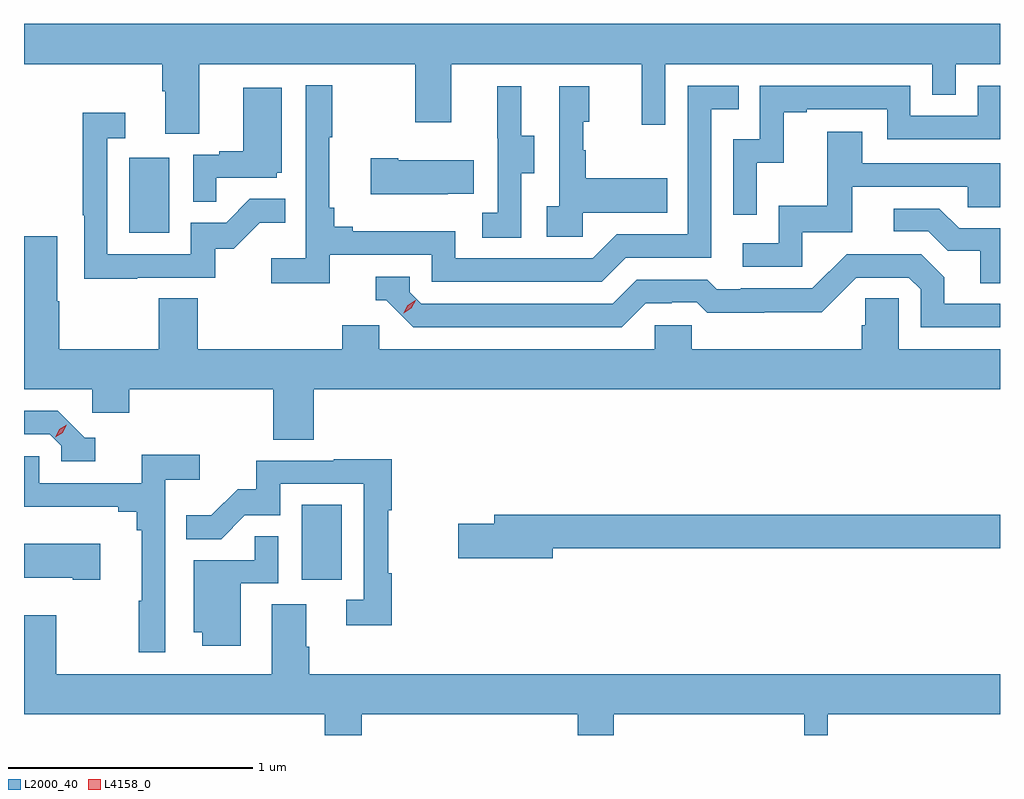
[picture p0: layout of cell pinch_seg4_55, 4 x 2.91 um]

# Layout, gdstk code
import gdstk
lib = gdstk.Library(unit=1e-6, precision=1e-09)
def R(c, l, rs):  # rectangles x0, y0, x1, y1
    for r in rs: c.add(gdstk.rectangle(r[:2], r[2:], *l))
def P(c, l, *ps):  # polygons
    for p in ps: c.add(gdstk.Polygon(p, *l))
L2000_40 = (2000, 40)
L4158_0 = (4158, 0)

pinch_seg4_55 = lib.new_cell('pinch_seg4_55')
R(pinch_seg4_55, L2000_40, [(1046.036,812.022,1046.2,812.329), (1045.328,813.444,1045.492,813.751)])
P(pinch_seg4_55, L2000_40, [(1044.897,814.136),(1045.463,814.136),(1045.463,814.024),(1045.475,814.024),(1045.475,813.85),(1045.615,813.85),(1045.615,814.136),(1046.5,814.136),(1046.5,813.897),(1046.647,813.897),(1046.647,814.136),(1047.428,814.136),(1047.428,813.888),(1047.525,813.888),(1047.525,814.136),(1048.62,814.136),(1048.62,814.009),(1048.716,814.009),(1048.716,814.136),(1048.897,814.136),(1048.897,814.3),(1044.897,814.3)],
  [(1046.15,813.354),(1046.568,813.354),(1046.568,813.243),(1047.265,813.243),(1047.364,813.342),(1047.714,813.342),(1047.714,813.951),(1047.827,813.951),(1047.827,814.047),(1047.618,814.047),(1047.618,813.438),(1047.327,813.438),(1047.228,813.339),(1046.664,813.339),(1046.664,813.451),(1046.245,813.451),(1046.245,813.47),(1046.168,813.47),(1046.168,813.547),(1046.149,813.547),(1046.149,813.835),(1046.161,813.835),(1046.161,814.048),(1046.052,814.048),(1046.052,813.34),(1045.911,813.34),(1045.911,813.238),(1046.15,813.238)],
  [(1047.9,813.731),(1048.01,813.731),(1048.01,813.939),(1048.105,813.939),(1048.105,813.951),(1048.434,813.951),(1048.434,813.828),(1048.897,813.828),(1048.897,814.047),(1048.806,814.047),(1048.806,813.924),(1048.53,813.924),(1048.53,814.047),(1047.912,814.047),(1047.912,813.828),(1047.804,813.828),(1047.804,813.519),(1047.9,813.519)],
  [(1047.186,813.527),(1047.533,813.527),(1047.533,813.667),(1047.199,813.667),(1047.199,813.782),(1047.189,813.782),(1047.189,813.9),(1047.214,813.9),(1047.214,814.045),(1047.09,814.045),(1047.09,813.554),(1047.039,813.554),(1047.039,813.429),(1047.186,813.429)],
  [(1046.934,813.688),(1046.989,813.688),(1046.989,813.843),(1046.935,813.843),(1046.935,814.045),(1046.837,814.045),(1046.837,813.831),(1046.838,813.831),(1046.838,813.527),(1046.775,813.527),(1046.775,813.424),(1046.934,813.424)],
  [(1045.685,813.669),(1045.932,813.669),(1045.932,813.69),(1045.954,813.69),(1045.954,814.039),(1045.796,814.039),(1045.796,813.778),(1045.697,813.778),(1045.697,813.765),(1045.59,813.765),(1045.59,813.571),(1045.685,813.571)],
  [(1045.361,813.261),(1045.68,813.261),(1045.68,813.378),(1045.756,813.378),(1045.863,813.485),(1045.967,813.485),(1045.967,813.584),(1045.823,813.584),(1045.725,813.486),(1045.581,813.486),(1045.581,813.357),(1045.239,813.357),(1045.239,813.831),(1045.312,813.831),(1045.312,813.937),(1045.138,813.937),(1045.138,813.517),(1045.143,813.517),(1045.143,813.256),(1045.361,813.256)],
  [(1048.086,813.447),(1048.291,813.447),(1048.291,813.633),(1048.765,813.633),(1048.765,813.549),(1048.897,813.549),(1048.897,813.729),(1048.333,813.729),(1048.333,813.859),(1048.189,813.859),(1048.189,813.556),(1047.99,813.556),(1047.99,813.402),(1047.843,813.402),(1047.843,813.306),(1048.086,813.306)],
  [(1046.633,813.605),(1046.741,813.605),(1046.741,813.742),(1046.431,813.742),(1046.431,813.75),(1046.319,813.75),(1046.319,813.602),(1046.633,813.602)],
  [(1048.897,813.462),(1048.729,813.462),(1048.648,813.543),(1048.461,813.543),(1048.461,813.45),(1048.602,813.45),(1048.682,813.37),(1048.817,813.37),(1048.817,813.238),(1048.897,813.238)],
  [(1046.084,812.804),(1048.897,812.804),(1048.897,812.968),(1048.482,812.968),(1048.482,813.176),(1048.345,813.176),(1048.345,813.066),(1048.331,813.066),(1048.331,812.968),(1047.633,812.968),(1047.633,813.066),(1047.483,813.066),(1047.483,812.968),(1046.352,812.968),(1046.352,813.066),(1046.201,813.066),(1046.201,812.968),(1045.61,812.968),(1045.61,813.176),(1045.45,813.176),(1045.45,812.968),(1045.041,812.968),(1045.041,813.164),(1045.033,813.164),(1045.033,813.43),(1044.897,813.43),(1044.897,812.804),(1045.176,812.804),(1045.176,812.706),(1045.328,812.706),(1045.328,812.804),(1045.919,812.804),(1045.919,812.596),(1046.084,812.596)],
  [(1047.445,813.156),(1047.552,813.156),(1047.552,813.159),(1047.655,813.159),(1047.697,813.117),(1047.93,813.117),(1047.93,813.119),(1048.166,813.119),(1048.308,813.261),(1048.524,813.261),(1048.572,813.213),(1048.572,813.057),(1048.897,813.057),(1048.897,813.153),(1048.669,813.153),(1048.669,813.263),(1048.575,813.357),(1048.269,813.357),(1048.128,813.216),(1047.835,813.216),(1047.835,813.213),(1047.736,813.213),(1047.697,813.252),(1047.408,813.252),(1047.309,813.153),(1046.526,813.153),(1046.478,813.201),(1046.478,813.264),(1046.339,813.264),(1046.339,813.168),(1046.382,813.168),(1046.493,813.057),(1047.346,813.057)],
  [(1045.189,812.604),(1045.146,812.604),(1045.035,812.715),(1044.897,812.715),(1044.897,812.619),(1045.002,812.619),(1045.05,812.571),(1045.05,812.508),(1045.189,812.508)],
  [(1045.476,812.432),(1045.618,812.432),(1045.618,812.534),(1045.379,812.534),(1045.379,812.418),(1044.96,812.418),(1044.96,812.529),(1044.897,812.529),(1044.897,812.321),(1045.283,812.321),(1045.283,812.302),(1045.36,812.302),(1045.36,812.225),(1045.379,812.225),(1045.379,811.937),(1045.368,811.937),(1045.368,811.725),(1045.476,811.725)],
  [(1046.405,812.048),(1046.39,812.048),(1046.39,812.308),(1046.405,812.308),(1046.405,812.516),(1046.167,812.516),(1046.167,812.511),(1045.849,812.511),(1045.849,812.394),(1045.772,812.394),(1045.665,812.287),(1045.561,812.287),(1045.561,812.189),(1045.705,812.189),(1045.802,812.286),(1045.947,812.286),(1045.947,812.415),(1046.289,812.415),(1046.289,811.941),(1046.217,811.941),(1046.217,811.836),(1046.405,811.836)],
  [(1047.064,812.152),(1048.897,812.152),(1048.897,812.288),(1046.825,812.288),(1046.825,812.252),(1046.676,812.252),(1046.676,812.11),(1047.064,812.11)],
  [(1045.786,812.007),(1045.938,812.007),(1045.938,812.201),(1045.843,812.201),(1045.843,812.103),(1045.592,812.103),(1045.592,811.808),(1045.628,811.808),(1045.628,811.752),(1045.786,811.752)],
  [(1045.21,812.17),(1044.897,812.17),(1044.897,812.03),(1045.097,812.03),(1045.097,812.023),(1045.21,812.023)],
  [(1046.281,811.472),(1047.166,811.472),(1047.166,811.386),(1047.313,811.386),(1047.313,811.472),(1048.094,811.472),(1048.094,811.386),(1048.191,811.386),(1048.191,811.472),(1048.897,811.472),(1048.897,811.636),(1046.066,811.636),(1046.066,811.748),(1046.053,811.748),(1046.053,811.922),(1045.913,811.922),(1045.913,811.636),(1045.029,811.636),(1045.029,811.876),(1044.897,811.876),(1044.897,811.472),(1046.129,811.472),(1046.129,811.386),(1046.281,811.386)])
P(pinch_seg4_55, L4158_0, [(1046.454,813.115),(1046.454,813.116),(1046.47,813.148),(1046.501,813.168),(1046.502,813.168),(1046.502,813.167),(1046.485,813.135),(1046.454,813.115)],
  [(1045.025,812.606),(1045.025,812.606),(1045.041,812.639),(1045.072,812.658),(1045.072,812.658),(1045.072,812.658),(1045.056,812.625),(1045.025,812.606)])

lib.write_gds('pinch_seg4_55.gds')
